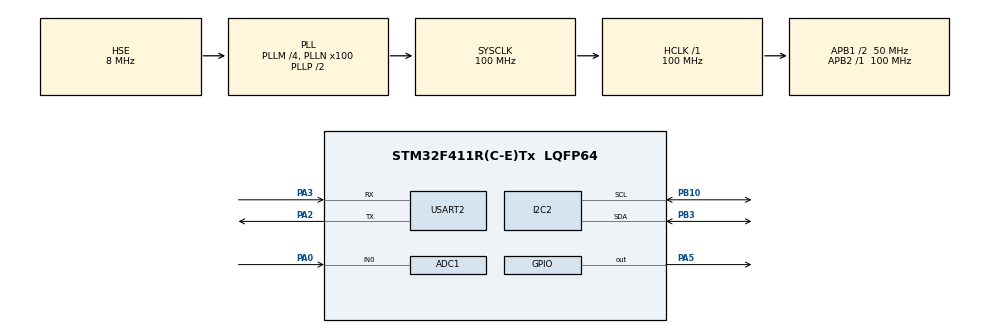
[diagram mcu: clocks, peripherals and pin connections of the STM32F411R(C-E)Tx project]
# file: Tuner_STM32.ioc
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ADC1.Channel-1\#ChannelRegularConversion=ADC_CHANNEL_0
ADC1.ContinuousConvMode=ENABLE
ADC1.DMAContinuousRequests=ENABLE
ADC1.NbrOfConversion=1
ADC1.NbrOfConversionFlag=1
ADC1.Rank-1\#ChannelRegularConversion=1
ADC1.SamplingTime-1\#ChannelRegularConversion=ADC_SAMPLETIME_480CYCLES
ADC1.ScanConvMode=DISABLE
ADC1.master=1
Dma.ADC1.0.Direction=DMA_PERIPH_TO_MEMORY
Dma.ADC1.0.FIFOMode=DMA_FIFOMODE_DISABLE
Dma.ADC1.0.Instance=DMA2_Stream0
Dma.ADC1.0.MemDataAlignment=DMA_MDATAALIGN_HALFWORD
Dma.ADC1.0.MemInc=DMA_MINC_ENABLE
Dma.ADC1.0.Mode=DMA_CIRCULAR
Dma.ADC1.0.PeriphDataAlignment=DMA_PDATAALIGN_HALFWORD
Dma.ADC1.0.PeriphInc=DMA_PINC_DISABLE
Dma.ADC1.0.Priority=DMA_PRIORITY_VERY_HIGH
Dma.Request0=ADC1
Mcu.Family=STM32F4
Mcu.Name=STM32F411R(C-E)Tx
Mcu.Package=LQFP64
NVIC.DMA2_Stream0_IRQn=true\:0\:0\:false\:false\:true\:false\:true\:true
NVIC.PriorityGroup=NVIC_PRIORITYGROUP_4
PA0-WKUP.Signal=ADCx_IN0
PA13.Mode=Serial_Wire
PA13.Signal=SYS_JTMS-SWDIO
PA14.Mode=Serial_Wire
PA14.Signal=SYS_JTCK-SWCLK
PA2.Mode=Asynchronous
PA2.Signal=USART2_TX
PA3.Mode=Asynchronous
PA3.Signal=USART2_RX
PA5.Signal=GPIO_Output
PB10.Mode=I2C
PB10.Signal=I2C2_SCL
PB3.Mode=I2C
PB3.Signal=I2C2_SDA
PH0\ -\ OSC_IN.Mode=HSE-External-Oscillator
PH0\ -\ OSC_IN.Signal=RCC_OSC_IN
PH1\ -\ OSC_OUT.Mode=HSE-External-Oscillator
PH1\ -\ OSC_OUT.Signal=RCC_OSC_OUT
ProjectManager.HeapSize=0x200
ProjectManager.StackSize=0x400
ProjectManager.TargetToolchain=STM32CubeIDE
RCC.48MHZClocksFreq_Value=50000000
RCC.AHBFreq_Value=100000000
RCC.APB1CLKDivider=RCC_HCLK_DIV2
RCC.APB1Freq_Value=50000000
RCC.APB1TimFreq_Value=100000000
RCC.APB2Freq_Value=100000000
RCC.APB2TimFreq_Value=100000000
RCC.CortexFreq_Value=100000000
RCC.HCLKFreq_Value=100000000
RCC.HSE_VALUE=8000000
RCC.HSI_VALUE=16000000
RCC.LSE_VALUE=32768
RCC.PLLM=4
RCC.PLLN=100
RCC.PLLSourceVirtual=RCC_PLLSOURCE_HSE
RCC.SYSCLKFreq_VALUE=100000000
RCC.SYSCLKSource=RCC_SYSCLKSOURCE_PLLCLK
RCC.VCOOutputFreq_Value=200000000
SH.ADCx_IN0.0=ADC1_IN0,IN0
USART2.VirtualMode=VM_ASYNC
board=custom

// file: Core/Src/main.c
/* USER CODE BEGIN Header */
/**
  ******************************************************************************
  * @file           : main.c
  * @brief          : Main program body
  ******************************************************************************
  * @attention
  *
  * Copyright (c) 2024 STMicroelectronics.
  * All rights reserved.
  *
  * This software is licensed under terms that can be found in the LICENSE file
  * in the root directory of this software component.
  * If no LICENSE file comes with this software, it is provided AS-IS.
  *
  ******************************************************************************
  */
/* USER CODE END Header */
#include "main.h"

/* USER CODE BEGIN Includes */
#define ARM_MATH_CM4
#include "stdio.h"
#include "math.h"
#include "arm_math.h"
#include "i2c-lcd.h"
/* USER CODE END Includes */

/* USER CODE BEGIN PD */
#define ADC_BUFFER_SIZE 4096
#define FFT_BUFFER_SIZE 2048
/* USER CODE END PD */

ADC_HandleTypeDef hadc1;
DMA_HandleTypeDef hdma_adc1;

I2C_HandleTypeDef hi2c2;

UART_HandleTypeDef huart2;

/* USER CODE BEGIN PV */
float samplingRate;

//Variables, buffers for DMA transfer
uint16_t adcData[ADC_BUFFER_SIZE];
uint16_t * inBufPtr = &adcData[0];
uint8_t processFlag;

//Variables for note detector
uint8_t fftDoneFlag;
float magnitude[FFT_BUFFER_SIZE/2];
float frequencyArray[9][12]; //9 octaves, 12 notes per octaves
float freqVal = 0.0f;
char closestNote[4];
float error;

//Handler, buffers for fft calculation
arm_rfft_fast_instance_f32 fftHandler;
float fftBufIn[FFT_BUFFER_SIZE];
float fftBufOut[FFT_BUFFER_SIZE];

/* USER CODE END PV */

void SystemClock_Config(void);
static void MX_GPIO_Init(void);
static void MX_DMA_Init(void);
static void MX_ADC1_Init(void);
static void MX_USART2_UART_Init(void);
static void MX_I2C2_Init(void);

/* USER CODE BEGIN 0 */
float calculateSamplingRate()
{
    // Calculate via ADC sample rate formula:
    uint32_t adcClockFrequency = HAL_RCC_GetPCLK2Freq();
    uint32_t adcPrescaler = 4;
    uint32_t adcResolution = hadc1.Init.Resolution;
    uint32_t adcNumChannels = hadc1.Init.NbrOfConversion;
    uint32_t adcSamplingTime = 480;
    uint32_t adcConversionTime = 12;
    // Calculate the sampling rate
    float samplingRate = ((float)adcClockFrequency/(float)adcPrescaler) / (float)((adcResolution + 1) * (adcNumChannels * (adcSamplingTime + adcConversionTime)));
    return samplingRate;
}

void HAL_ADC_ConvCpltCallback(ADC_HandleTypeDef* hadc)
{
	//point to first half of the adc buffer
	inBufPtr = &adcData[0];
	processFlag = 1;
}
void HAL_ADC_ConvHalfCpltCallback(ADC_HandleTypeDef* hadc)
{
	//point to second half of the adc buffer
	inBufPtr = &adcData[ADC_BUFFER_SIZE/2];
	processFlag = 1;
}
void Processing()
{
	//load one half of adc buffer to fft input buffer for processing
	for (uint16_t i = 0; i < (ADC_BUFFER_SIZE/2);i ++)
	{
		fftBufIn[i] = ((float) inBufPtr[i]);
	}
	//compute fft
	arm_rfft_fast_f32(&fftHandler, fftBufIn, fftBufOut, 0);
	fftDoneFlag = 1;
	processFlag = 0;
}
void freqCalculate()
{
	//Identify the max amplitude value
    for (uint32_t i = 0; i < FFT_BUFFER_SIZE; i += 2)
    {
        magnitude[i / 2] = sqrtf(fftBufOut[i] * fftBufOut[i] + fftBufOut[i + 1] * fftBufOut[i + 1]);
    }
    // Set DC component to zero
    magnitude[0] = 0.0;

    uint32_t maxIndex = 0;
    float32_t maxValue = 0.0;

    // Identify the max magnitude to calculate frequency
    for (uint32_t i = 0; i < FFT_BUFFER_SIZE / 2; ++i)
    {
        if (magnitude[i] > maxValue)
        {
            maxValue = magnitude[i];
            maxIndex = i;
        }
    }

    // Calculate the corresponding frequency based on the max amplitude value
    freqVal = ((float32_t)maxIndex * samplingRate) / FFT_BUFFER_SIZE;
}

// Function to find the closest note and calculate the error
float calculateNoteFrequency(int noteIndex, int octave)
{
    const float referenceFrequency = 440.0f; // Reference frequency for A4
    return referenceFrequency * pow(2.0f, ((noteIndex - 9) / 12.0f + (octave - 4)));
}
void generateFrequencyArray()
{
	for (int octave = 0; octave < 8; ++octave)
    {
        for (int noteIndex = 0; noteIndex < 12; ++noteIndex)
        {
            frequencyArray[octave][noteIndex] = calculateNoteFrequency(noteIndex, octave);
        }
    }
}
void findClosestNote(float inputFrequency, char* closestNote, float* error)
{
    const char* noteNames[] = {"C", "C#", "D", "D#", "E", "F", "F#", "G", "G#", "A", "A#", "B"};
    const int numNotes = 12;
    const int numOctaves = 9;

    float closestFrequency = frequencyArray[0][0];
    float abs_error = fabsf(inputFrequency - closestFrequency);

    *closestNote = '\0';

    for (int octave = 0; octave < numOctaves; octave++)
    {
        for (int noteIndex = 0; noteIndex < numNotes; noteIndex++)
        {
            float currentFrequency = frequencyArray[octave][noteIndex];
            float currentError = fabsf(inputFrequency - currentFrequency);

            if (currentError < abs_error)
            {
                abs_error = currentError;
                *error = inputFrequency - currentFrequency;
                sprintf(closestNote, "%s%d", noteNames[noteIndex], octave);
            }
        }
    }
    if ( strlen(closestNote) == 2)
    {
    	strcat(closestNote, " ");
    }
}
void lcd_tunerDisplay()
{
	lcd_put_cur(0, 0);
	lcd_send_string("frequency: ");
	send_float_to_lcd(freqVal);
	lcd_send_string("Hz  ");
	lcd_put_cur(1, 0);
	lcd_send_string("error: ");
	send_float_to_lcd(fabsf(error));
	lcd_send_string("Hz ");
	lcd_put_cur(2, 0);
	lcd_send_string("note: ");
	lcd_send_string(closestNote);
	HAL_Delay(500);
}
//int _write(int file, char *ptr, int len) {
//    HAL_UART_Transmit(&huart2, (uint8_t*)ptr, len, HAL_MAX_DELAY);
//    return len;
//}
/* USER CODE END 0 */

int main(void)
{

  /* MCU Configuration--------------------------------------------------------*/

  /* Reset of all peripherals, Initializes the Flash interface and the Systick. */
  HAL_Init();

  /* Configure the system clock */
  SystemClock_Config();

  /* Initialize all configured peripherals */
  MX_GPIO_Init();
  MX_DMA_Init();
  MX_ADC1_Init();
  MX_USART2_UART_Init();
  MX_I2C2_Init();
  /* USER CODE BEGIN 2 */
  arm_rfft_fast_init_f32(&fftHandler, FFT_BUFFER_SIZE);
  HAL_ADC_Start_DMA(&hadc1, (uint32_t *) adcData, ADC_BUFFER_SIZE);
  samplingRate = calculateSamplingRate();
  generateFrequencyArray(frequencyArray, 9);
  lcd_init();
  /* USER CODE END 2 */

  /* Infinite loop */
  while (1)
  {

    /* USER CODE BEGIN 3 */
		if(processFlag)
		{
			Processing();
		}

		if(fftDoneFlag)
		{
			freqCalculate();
			findClosestNote(freqVal, closestNote, &error);
		}
		lcd_tunerDisplay();
  }
  /* USER CODE END 3 */
}

void SystemClock_Config(void)
{
  RCC_OscInitTypeDef RCC_OscInitStruct = {0};
  RCC_ClkInitTypeDef RCC_ClkInitStruct = {0};

  /** Configure the main internal regulator output voltage
  */
  __HAL_RCC_PWR_CLK_ENABLE();
  __HAL_PWR_VOLTAGESCALING_CONFIG(PWR_REGULATOR_VOLTAGE_SCALE1);

  /** Initializes the RCC Oscillators according to the specified parameters
  * in the RCC_OscInitTypeDef structure.
  */
  RCC_OscInitStruct.OscillatorType = RCC_OSCILLATORTYPE_HSE;
  RCC_OscInitStruct.HSEState = RCC_HSE_ON;
  RCC_OscInitStruct.PLL.PLLState = RCC_PLL_ON;
  RCC_OscInitStruct.PLL.PLLSource = RCC_PLLSOURCE_HSE;
  RCC_OscInitStruct.PLL.PLLM = 4;
  RCC_OscInitStruct.PLL.PLLN = 100;
  RCC_OscInitStruct.PLL.PLLP = RCC_PLLP_DIV2;
  RCC_OscInitStruct.PLL.PLLQ = 4;
  if (HAL_RCC_OscConfig(&RCC_OscInitStruct) != HAL_OK)
  {
    Error_Handler();
  }

  /** Initializes the CPU, AHB and APB buses clocks
  */
  RCC_ClkInitStruct.ClockType = RCC_CLOCKTYPE_HCLK|RCC_CLOCKTYPE_SYSCLK
                              |RCC_CLOCKTYPE_PCLK1|RCC_CLOCKTYPE_PCLK2;
  RCC_ClkInitStruct.SYSCLKSource = RCC_SYSCLKSOURCE_PLLCLK;
  RCC_ClkInitStruct.AHBCLKDivider = RCC_SYSCLK_DIV1;
  RCC_ClkInitStruct.APB1CLKDivider = RCC_HCLK_DIV2;
  RCC_ClkInitStruct.APB2CLKDivider = RCC_HCLK_DIV1;

  if (HAL_RCC_ClockConfig(&RCC_ClkInitStruct, FLASH_LATENCY_3) != HAL_OK)
  {
    Error_Handler();
  }
}

static void MX_ADC1_Init(void)
{

  ADC_ChannelConfTypeDef sConfig = {0};

  /** Configure the global features of the ADC (Clock, Resolution, Data Alignment and number of conversion)
  */
  hadc1.Instance = ADC1;
  hadc1.Init.ClockPrescaler = ADC_CLOCK_SYNC_PCLK_DIV4;
  hadc1.Init.Resolution = ADC_RESOLUTION_12B;
  hadc1.Init.ScanConvMode = DISABLE;
  hadc1.Init.ContinuousConvMode = ENABLE;
  hadc1.Init.DiscontinuousConvMode = DISABLE;
  hadc1.Init.ExternalTrigConvEdge = ADC_EXTERNALTRIGCONVEDGE_NONE;
  hadc1.Init.ExternalTrigConv = ADC_SOFTWARE_START;
  hadc1.Init.DataAlign = ADC_DATAALIGN_RIGHT;
  hadc1.Init.NbrOfConversion = 1;
  hadc1.Init.DMAContinuousRequests = ENABLE;
  hadc1.Init.EOCSelection = ADC_EOC_SINGLE_CONV;
  if (HAL_ADC_Init(&hadc1) != HAL_OK)
  {
    Error_Handler();
  }

  /** Configure for the selected ADC regular channel its corresponding rank in the sequencer and its sample time.
  */
  sConfig.Channel = ADC_CHANNEL_0;
  sConfig.Rank = 1;
  sConfig.SamplingTime = ADC_SAMPLETIME_480CYCLES;
  if (HAL_ADC_ConfigChannel(&hadc1, &sConfig) != HAL_OK)
  {
    Error_Handler();
  }

}

static void MX_I2C2_Init(void)
{

  hi2c2.Instance = I2C2;
  hi2c2.Init.ClockSpeed = 100000;
  hi2c2.Init.DutyCycle = I2C_DUTYCYCLE_2;
  hi2c2.Init.OwnAddress1 = 0;
  hi2c2.Init.AddressingMode = I2C_ADDRESSINGMODE_7BIT;
  hi2c2.Init.DualAddressMode = I2C_DUALADDRESS_DISABLE;
  hi2c2.Init.OwnAddress2 = 0;
  hi2c2.Init.GeneralCallMode = I2C_GENERALCALL_DISABLE;
  hi2c2.Init.NoStretchMode = I2C_NOSTRETCH_DISABLE;
  if (HAL_I2C_Init(&hi2c2) != HAL_OK)
  {
    Error_Handler();
  }

}

static void MX_USART2_UART_Init(void)
{

  huart2.Instance = USART2;
  huart2.Init.BaudRate = 115200;
  huart2.Init.WordLength = UART_WORDLENGTH_8B;
  huart2.Init.StopBits = UART_STOPBITS_1;
  huart2.Init.Parity = UART_PARITY_NONE;
  huart2.Init.Mode = UART_MODE_TX_RX;
  huart2.Init.HwFlowCtl = UART_HWCONTROL_NONE;
  huart2.Init.OverSampling = UART_OVERSAMPLING_16;
  if (HAL_UART_Init(&huart2) != HAL_OK)
  {
    Error_Handler();
  }

}

static void MX_DMA_Init(void)
{

  /* DMA controller clock enable */
  __HAL_RCC_DMA2_CLK_ENABLE();

  /* DMA interrupt init */
  /* DMA2_Stream0_IRQn interrupt configuration */
  HAL_NVIC_SetPriority(DMA2_Stream0_IRQn, 0, 0);
  HAL_NVIC_EnableIRQ(DMA2_Stream0_IRQn);

}

static void MX_GPIO_Init(void)
{
  GPIO_InitTypeDef GPIO_InitStruct = {0};

  /* GPIO Ports Clock Enable */
  __HAL_RCC_GPIOH_CLK_ENABLE();
  __HAL_RCC_GPIOA_CLK_ENABLE();
  __HAL_RCC_GPIOB_CLK_ENABLE();

  /*Configure GPIO pin Output Level */
  HAL_GPIO_WritePin(GPIOA, GPIO_PIN_5, GPIO_PIN_RESET);

  /*Configure GPIO pin : PA5 */
  GPIO_InitStruct.Pin = GPIO_PIN_5;
  GPIO_InitStruct.Mode = GPIO_MODE_OUTPUT_PP;
  GPIO_InitStruct.Pull = GPIO_NOPULL;
  GPIO_InitStruct.Speed = GPIO_SPEED_FREQ_LOW;
  HAL_GPIO_Init(GPIOA, &GPIO_InitStruct);

}

void Error_Handler(void)
{
  __disable_irq();
  while (1)
  {
  }
}
